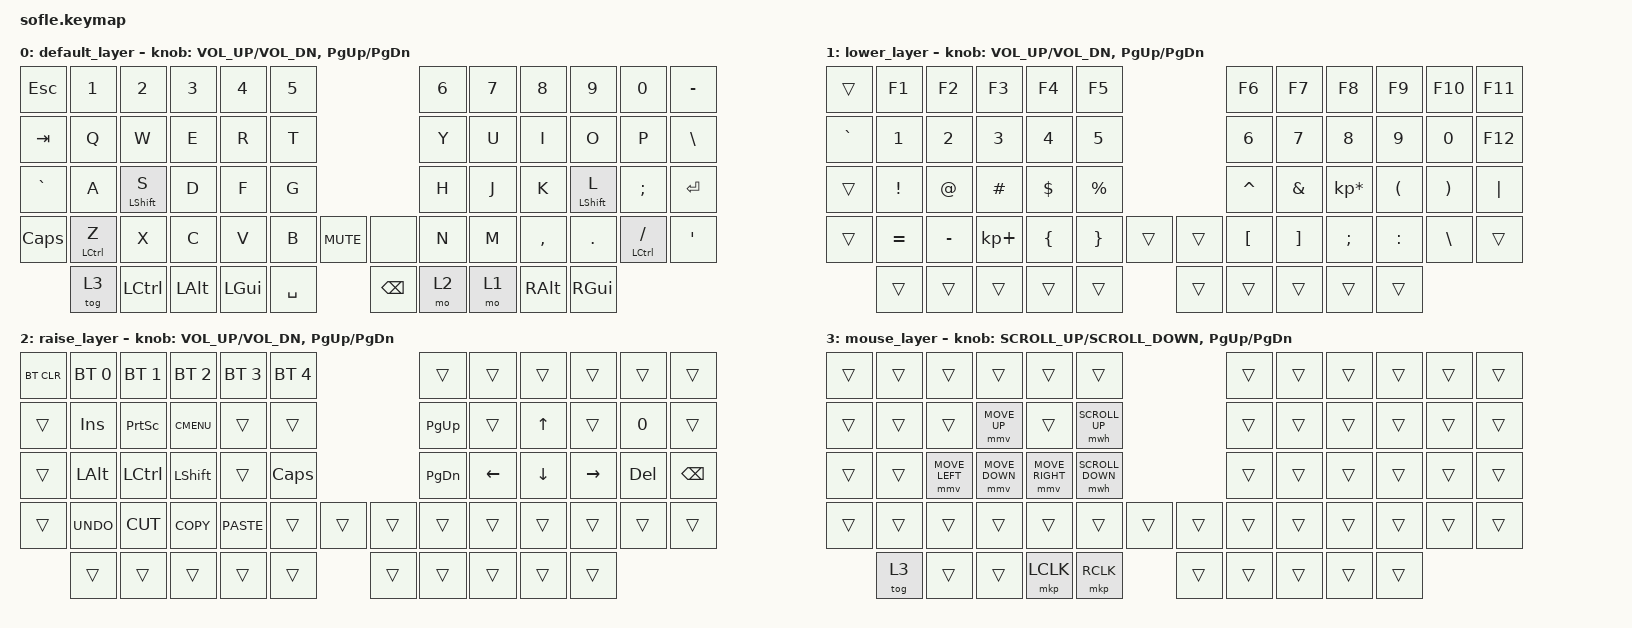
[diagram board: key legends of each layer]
/*
 * Copyright (c) 2020 The ZMK Contributors
 *
 * SPDX-License-Identifier: MIT
 */

#include <behaviors.dtsi>
#include <dt-bindings/zmk/keys.h>
#include <dt-bindings/zmk/bt.h>
#include <dt-bindings/zmk/mouse.h>
#include <dt-bindings/zmk/outputs.h>

/ {
    keymap {
        compatible = "zmk,keymap";

        default_layer {
// ------------------------------------------------------------------------------------------------------------
// |  `    |  1  |  2  |  3   |  4   |  5   |                   |  6   |  7    |  8    |  9   |   0   |       |
// |  ESC  |  Q  |  W  |  E   |  R   |  T   |                   |  Y   |  U    |  I    |  O   |   P   | BKSPC |
// |  TAB  |  A  |  S  |  D   |  F   |  G   |                   |  H   |  J    |  K    |  L   |   ;   |   '   |
// | SHIFT |  Z  |  X  |  C   |  V   |  B   |  MUTE  |  |       |  N   |  M    |  ,    |  .   |   /   | SHIFT |
//               | GUI | ALT  | CTRL | LOWER|  ENTER |  | SPACE | RAISE| CTRL  | ALT   | GUI  |
            bindings = <
&kp ESC     &kp N1      &kp N2          &kp N3   &kp N4    &kp N5                         &kp N6 &kp N7    &kp N8    &kp N9         &kp N0   &kp MINUS
&kp TAB     &kp Q       &kp W           &kp E    &kp R     &kp T                          &kp Y  &kp U     &kp I     &kp O          &kp P    &kp BSLH
&kp GRAVE   &kp A       &mt LSHIFT S    &kp D    &kp F     &kp G                          &kp H  &kp J     &kp K     &mt LSHIFT L   &kp SEMI &kp RET
&kp CAPS    &mt LCTRL Z &kp X           &kp C    &kp V     &kp B  &kp C_MUTE    &none     &kp N  &kp M     &kp COMMA &kp DOT        &mt LCTRL FSLH &kp SQT
            &tog 3       &kp LCTRL       &kp LALT &kp LGUI  &kp SPACE            &kp BSPC  &mo 2  &mo 1      &kp RALT  &kp RGUI
            >;

            sensor-bindings = <&inc_dec_kp C_VOL_UP C_VOL_DN &inc_dec_kp PG_UP PG_DN>;
        };

        lower_layer {
// TODO: Some binds are waiting for shifted keycode support.
// ------------------------------------------------------------------------------------------------------------
// |       |  F1 |  F2 |  F3  |  F4  |  F5  |                   |  F6  |  F7   |  F8   |  F9  |  F10  |  F11  |
// | `     |   1 |   2 |   3  |   4  |   5  |                   |   6  |   7   |   8   |   9  |    0  |  F12  |
// |       |  !  |  @  |  #   |  $   |  %   |                   |  ^   |  &    |  *    |  (   |   )   |   |   |
// |       |  =  |  -  |  +   |  {   |  }   |        |  |       |  [   |  ]    |  ;    |  :   |   \   |       |
//               |     |      |      |      |        |  |       |      |       |       |      |
            bindings = <
&trans    &kp F1    &kp F2    &kp F3      &kp F4    &kp F5                    &kp F6    &kp F7   &kp F8          &kp F9    &kp F10   &kp F11
&kp GRAVE &kp N1    &kp N2    &kp N3      &kp N4    &kp N5                    &kp N6    &kp N7   &kp N8          &kp N9    &kp N0    &kp F12
&trans    &kp EXCL  &kp AT    &kp HASH    &kp DLLR  &kp PRCNT                 &kp CARET &kp AMPS &kp KP_MULTIPLY &kp LPAR  &kp RPAR  &kp PIPE
&trans    &kp EQUAL &kp MINUS &kp KP_PLUS &kp LBRC  &kp RBRC  &trans   &trans &kp LBKT  &kp RBKT &kp SEMI        &kp COLON &kp BSLH  &trans
                    &trans    &trans      &trans    &trans    &trans   &trans &trans    &trans   &trans          &trans
            >;

            sensor-bindings = <&inc_dec_kp C_VOL_UP C_VOL_DN &inc_dec_kp PG_UP PG_DN>;
        };

        raise_layer {
// ------------------------------------------------------------------------------------------------------------
// |BTCLR| BT1  | BT2  |  BT3  |  BT4  |  BT5 |                |      |      |       |      |       |       |
// |     | INS  | PSCR | GUI   |       |      |                | PGUP |      |   ^   |      |       |       |
// |     | ALT  | CTRL | SHIFT |       | CAPS |                | PGDN |   <- |   v   |  ->  |  DEL  | BKSPC |
// |     | UNDO | CUT  | COPY  | PASTE |      |      |  |      |      |      |       |      |       |       |
//              |      |       |       |      |      |  |      |      |      |       |      |
            bindings = <
&bt BT_CLR &bt BT_SEL 0 &bt BT_SEL 1 &bt BT_SEL 2 &bt BT_SEL 3 &bt BT_SEL 4             &trans    &trans    &trans   &trans    &trans  &trans
&trans     &kp INS      &kp PSCRN    &kp K_CMENU  &trans       &trans                   &kp PG_UP &trans    &kp UP   &trans    &kp N0  &trans
&trans     &kp LALT     &kp LCTRL    &kp LSHFT    &trans       &kp CLCK                 &kp PG_DN &kp LEFT  &kp DOWN &kp RIGHT &kp DEL &kp BSPC
&trans     &kp K_UNDO   &kp K_CUT    &kp K_COPY   &kp K_PASTE  &trans  &trans   &trans  &trans    &trans    &trans   &trans    &trans  &trans
                        &trans       &trans       &trans       &trans  &trans   &trans  &trans    &trans    &trans   &trans
            >;

            sensor-bindings = <&inc_dec_kp C_VOL_UP C_VOL_DN &inc_dec_kp PG_UP PG_DN>;
        };

        mouse_layer {
// ------------------------------------------------------------------------------------------------------------
// |     |      |      |       |       |      |                |      |      |       |      |       |       |
// |     |      |      |       |       |      |                |      |      |       |      |       |       |
// |     |      |      |       |       |      |                |      |      |       |      |       |       |
// |     |      |      |       |       |      |      |  |      |      |      |       |      |       |       |
//              |      |       |       |      |      |  |      |      |      |       |      |
            bindings = <
&trans     &trans    &trans         &trans          &trans          &trans                  &trans    &trans    &trans   &trans    &trans  &trans
&trans     &trans    &trans         &mmv MOVE_UP    &trans          &mwh SCROLL_UP                  &trans    &trans    &trans   &trans    &trans  &trans
&trans     &trans    &mmv MOVE_LEFT &mmv MOVE_DOWN  &mmv MOVE_RIGHT &mwh SCROLL_DOWN                  &trans    &trans    &trans   &trans    &trans  &trans
&trans     &trans    &trans         &trans          &trans          &trans &trans &trans    &trans    &trans    &trans   &trans    &trans  &trans
                     &tog 3         &trans          &trans     &mkp LCLK       &mkp RCLK    &trans  &trans    &trans    &trans   &trans
            >;

            sensor-bindings = <&inc_dec_kp SCROLL_UP SCROLL_DOWN &inc_dec_kp PG_UP PG_DN>;
        };
    };
};



// ------------------------------------------------------------------------------------------------------------
// |     |      |      |       |       |      |                |      |      |       |      |       |       |
// |     |      |      |       |       |      |                |      |      |       |      |       |       |
// |     |      |      |       |       |      |                |      |      |       |      |       |       |
// |     |      |      |       |       |      |      |  |      |      |      |       |      |       |       |
//              |      |       |       |      |      |  |      |      |      |       |      |
